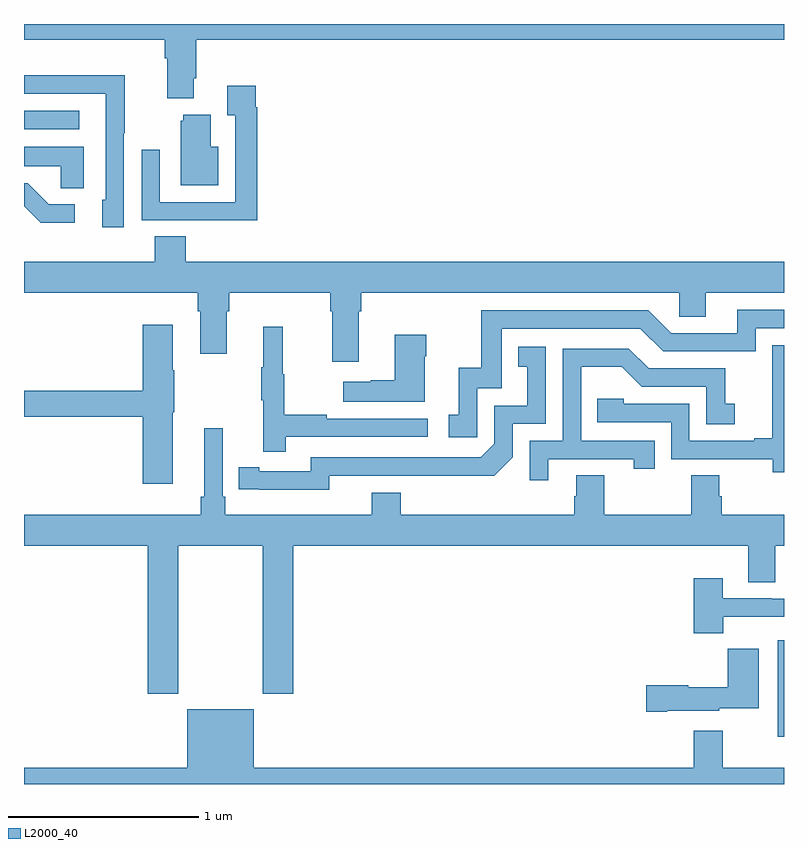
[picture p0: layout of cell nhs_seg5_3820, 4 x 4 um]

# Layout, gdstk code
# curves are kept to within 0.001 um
import gdstk
lib = gdstk.Library(unit=1e-6, precision=1e-09)
def R(c, l, rs):  # rectangles x0, y0, x1, y1
    for r in rs: c.add(gdstk.rectangle(r[:2], r[2:], *l))
def P(c, l, *ps):  # polygons
    for p in ps: c.add(gdstk.Polygon(p, *l))
L2000_40 = (2000, 40)

nhs_seg5_3820 = lib.new_cell('nhs_seg5_3820')
R(nhs_seg5_3820, L2000_40, [(338.966,897.048,339,897.556), (335,900.246,335.29,900.342)])
P(nhs_seg5_3820, L2000_40, [(335.893,900.514),(335.906,900.514),(335.906,900.716),(339,900.716),(339,900.799),(335,900.799),(335,900.716),(335.741,900.716),(335.741,900.62),(335.753,900.62),(335.753,900.407),(335.893,900.407)],
  [(335.526,900.223),(335.529,900.223),(335.529,900.53),(335.065,900.53),(335.065,900.528),(335,900.528),(335,900.432),(335.43,900.432),(335.43,899.874),(335.411,899.874),(335.411,899.73),(335.526,899.73)],
  [(336.227,900.362),(336.22,900.362),(336.22,900.475),(336.071,900.475),(336.071,900.319),(336.111,900.319),(336.111,899.862),(335.715,899.862),(335.715,900.136),(335.619,900.136),(335.619,899.766),(335.935,899.766),(335.935,899.765),(336.227,899.765)],
  [(336.022,900.154),(335.983,900.154),(335.983,900.322),(335.837,900.322),(335.837,900.291),(335.825,900.291),(335.825,899.951),(336.022,899.951)],
  [(335.314,900.154),(335,900.154),(335,900.05),(335.193,900.05),(335.193,899.935),(335.314,899.935)],
  [(335.266,899.85),(335.131,899.85),(335.02,899.961),(335,899.961),(335,899.839),(335.087,899.753),(335.266,899.753)],
  [(336.763,899.288),(336.776,899.288),(336.776,899.384),(338.448,899.384),(338.448,899.257),(338.587,899.257),(338.587,899.384),(339,899.384),(339,899.548),(335.852,899.548),(335.852,899.681),(335.687,899.681),(335.687,899.548),(335,899.548),(335,899.384),(335.915,899.384),(335.915,899.288),(335.927,899.288),(335.927,899.064),(336.067,899.064),(336.067,899.288),(336.08,899.288),(336.08,899.384),(336.611,899.384),(336.611,899.288),(336.623,899.288),(336.623,899.022),(336.763,899.022)],
  [(337.386,898.881),(337.515,898.881),(337.515,899.196),(338.244,899.196),(338.364,899.076),(338.85,899.076),(338.85,899.199),(339,899.199),(339,899.295),(338.753,899.295),(338.753,899.172),(338.406,899.172),(338.286,899.292),(337.407,899.292),(337.407,898.99),(337.289,898.99),(337.289,898.743),(337.236,898.743),(337.236,898.623),(337.386,898.623)],
  [(335.782,898.755),(335.79,898.755),(335.79,898.976),(335.782,898.976),(335.782,899.215),(335.624,899.215),(335.624,898.868),(335,898.868),(335,898.732),(335.624,898.732),(335.624,898.38),(335.782,898.38)],
  [(336.377,898.626),(337.126,898.626),(337.126,898.722),(336.593,898.722),(336.593,898.742),(336.37,898.742),(336.37,898.956),(336.362,898.956),(336.362,899.206),(336.26,899.206),(336.26,898.993),(336.249,898.993),(336.249,898.819),(336.26,898.819),(336.26,898.548),(336.377,898.548)],
  [(337.108,899.051),(337.116,899.051),(337.116,899.164),(336.95,899.164),(336.95,898.925),(336.824,898.925),(336.824,898.915),(336.681,898.915),(336.681,898.811),(337.108,898.811)],
  [(339,899.107),(338.938,899.107),(338.938,898.901),(338.939,898.901),(338.939,898.618),(338.843,898.618),(338.843,898.605),(338.502,898.605),(338.502,898.8),(338.157,898.8),(338.157,898.827),(338.017,898.827),(338.017,898.704),(338.406,898.704),(338.406,898.509),(338.94,898.509),(338.94,898.441),(339,898.441)],
  [(336.606,898.422),(337.474,898.421),(337.572,898.518),(337.572,898.695),(337.746,898.695),(337.746,899.101),(337.6,899.101),(337.6,898.995),(337.649,898.995),(337.649,898.791),(337.476,898.791),(337.476,898.59),(337.404,898.518),(336.51,898.518),(336.51,898.446),(336.238,898.446),(336.238,898.466),(336.13,898.466),(336.13,898.35),(336.606,898.349)],
  [(337.759,898.509),(338.21,898.509),(338.21,898.458),(338.321,898.458),(338.321,898.605),(337.932,898.605),(337.932,898.994),(338.146,898.994),(338.25,898.89),(338.592,898.89),(338.592,898.692),(338.74,898.692),(338.74,898.801),(338.691,898.801),(338.691,898.986),(338.287,898.986),(338.182,899.091),(337.836,899.091),(337.836,898.605),(337.662,898.605),(337.662,898.398),(337.759,898.398)],
  [(338.813,897.862),(338.953,897.862),(338.953,898.052),(339,898.052),(339,898.216),(338.672,898.216),(338.672,898.314),(338.659,898.314),(338.659,898.424),(338.512,898.424),(338.512,898.216),(338.055,898.216),(338.055,898.424),(337.907,898.424),(337.907,898.314),(337.895,898.314),(337.895,898.216),(336.983,898.216),(336.983,898.333),(336.83,898.333),(336.83,898.216),(336.059,898.216),(336.059,898.312),(336.045,898.312),(336.045,898.672),(335.948,898.672),(335.948,898.312),(335.929,898.312),(335.929,898.216),(335,898.216),(335,898.052),(335.651,898.052),(335.651,897.273),(335.811,897.273),(335.811,898.052),(336.256,898.052),(336.256,897.273),(336.416,897.273),(336.416,898.052),(338.813,898.052)],
  [(338.68,897.68),(339,897.68),(339,897.774),(338.933,897.774),(338.933,897.777),(338.677,897.777),(338.677,897.883),(338.525,897.883),(338.525,897.593),(338.68,897.593)],
  [(338.386,897.185),(338.658,897.185),(338.658,897.197),(338.866,897.197),(338.866,897.511),(338.704,897.511),(338.704,897.307),(338.496,897.307),(338.496,897.32),(338.274,897.32),(338.274,897.178),(338.386,897.178)],
  [(339,896.884),(338.677,896.884),(338.677,897.079),(338.525,897.079),(338.525,896.884),(336.208,896.884),(336.208,897.193),(335.858,897.193),(335.858,896.884),(335,896.884),(335,896.799),(339,896.799)])

lib.write_gds('nhs_seg5_3820.gds')
